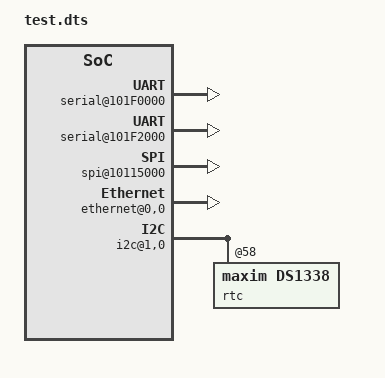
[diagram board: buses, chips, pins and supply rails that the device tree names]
/dts-v1/;

/ {
    compatible = "acme,coyotes-revenge";

    cpus {
        cpu@0 {
            compatible = "arm,cortex-a9";
        };
        cpu@1 {
            compatible = "arm,cortex-a9";
        };
    };

    serial@101F0000 {
        compatible = "arm,pl011";
    };

    serial@101F2000 {
        compatible = "arm,pl011";
    };

    gpio@101F3000 {
        compatible = "arm,pl061";
    };

    interrupt-controller@10140000 {
        compatible = "arm,pl190";
    };

    spi@10115000 {
        compatible = "arm,pl022";
    };

    external-bus {
        ethernet@0,0 {
            compatible = "smc,smc91c111";
        };

        i2c@1,0 {
            compatible = "acme,a1234-i2c-bus";
            rtc@58 {
                compatible = "maxim,ds1338";
            };
        };

        flash@2,0 {
            compatible = "samsung,k8f1315ebm", "cfi-flash";
        };
    };
};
